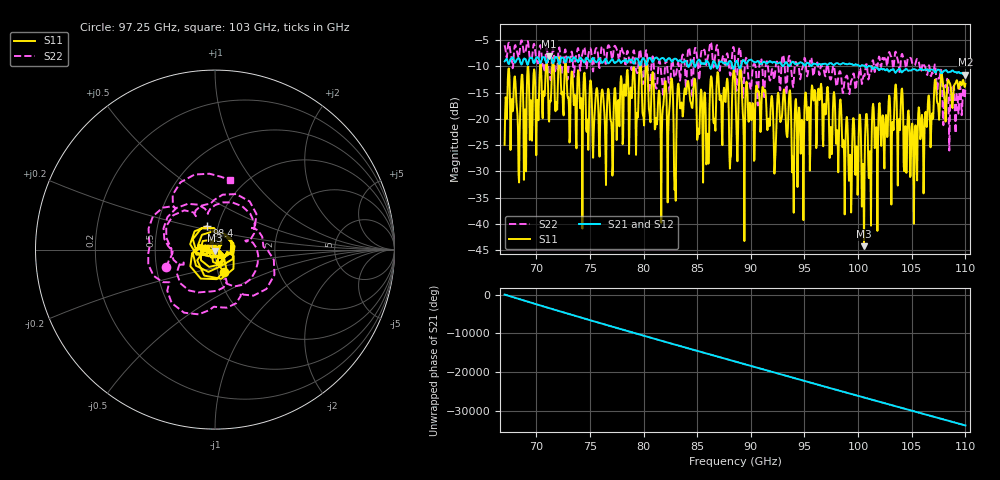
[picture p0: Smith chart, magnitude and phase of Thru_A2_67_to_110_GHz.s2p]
#  HZ  S  MA  R  50.00
! Rohde & Schwarz ZVA67 4Ports - Version 4.11 - 1305.7002k04 SN: 101051
! Date: 2023-09-13 16:54:25
! Measurements: S11 S21 S12 S22
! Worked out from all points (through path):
!   860 points, 67.05 GHz to 110 GHz, reference 50 ohm
!   highest |S21| = -8.12 dB at 71.2 GHz (marker M1); lowest = -11.6 dB at 110 GHz (marker M2)
!   lowest |S11| = -44.3 dB at 100.5 GHz (marker M3), VSWR 1.01, Z = 50.1 - j0.595 ohm
!   |S11| at or under -10 dB: start of sweep to 70.36 GHz; 72.78 GHz to 79.64 GHz (6.86 GHz wide, 9 % of centre); 80.35 GHz to end of sweep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
!   |S22| runs from -26.0 to -5.1 dB; largest |S21 - S12| = 0.044
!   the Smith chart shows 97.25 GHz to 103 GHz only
!   S11 on the Smith chart (normalised r, x): 97.25 GHz: 1.07, -0.27; 98.4 GHz: 0.88, +0.23; 103 GHz: 0.90, +0.02
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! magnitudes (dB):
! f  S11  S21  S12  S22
! 67.05 GHz  -25.0  -9.1  -9.0  -6.0
! 67.35 GHz  -12.5  -9.2  -9.2  -6.4
! 68.35 GHz  -30.6  -8.4  -8.4  -8.4
! 71.2 GHz  -20.5  -8.1  -8.1  -11.4
! 74.25 GHz  -19.6  -8.7  -8.7  -8.0
! 81.4 GHz  -15.1  -8.7  -8.7  -9.7
! 82.6 GHz  -12.3  -9.0  -9.0  -9.5
! 82.95 GHz  -31.6  -8.5  -8.5  -12.0
! 84 GHz  -14.9  -9.1  -9.1  -13.3
! 85.95 GHz  -22.8  -9.0  -9.0  -8.7
! 87 GHz  -12.7  -9.6  -9.6  -8.7
! 88.55 GHz  -13.9  -9.5  -9.4  -10.3
! 93.05 GHz  -14.8  -9.9  -9.8  -8.1
! 93.95 GHz  -28.9  -9.1  -9.1  -14.0
! 95.7 GHz  -13.6  -9.8  -9.8  -9.2
! 97.25 GHz  -17.4  -9.6  -9.6  -10.8
! 98.4 GHz  -17.2  -9.6  -9.6  -11.6
! 100.5 GHz  -44.3  -9.8  -9.8  -11.8
! 102.8 GHz  -16.6  -11.0  -11.0  -7.5
! 103 GHz  -25.3  -10.7  -10.7  -8.1
! 105.3 GHz  -21.2  -10.6  -10.6  -9.5
! 110 GHz  -13.3  -11.6  -11.6  -14.0
